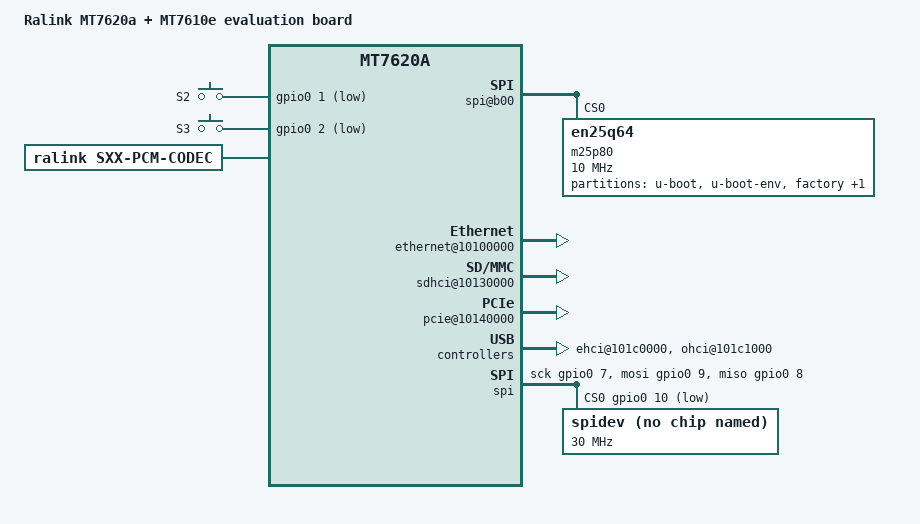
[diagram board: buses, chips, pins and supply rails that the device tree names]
/dts-v1/;

/include/ "mt7620a.dtsi"

/ {
	compatible = "ralink,mt7620a-eval-board", "ralink,mt7620a-soc";
	model = "Ralink MT7620a + MT7610e evaluation board";

	palmbus@10000000 {
		spi@b00 {
			status = "okay";

			m25p80@0 {
				#address-cells = <1>;
				#size-cells = <1>;
				compatible = "en25q64";
				reg = <0 0>;
				linux,modalias = "m25p80", "en25q64";
				spi-max-frequency = <10000000>;

				partition@0 {
					label = "u-boot";
					reg = <0x0 0x30000>;
					read-only;
				};

				partition@30000 {
					label = "u-boot-env";
					reg = <0x30000 0x10000>;
					read-only;
				};

				factory: partition@40000 {
					label = "factory";
					reg = <0x40000 0x10000>;
					read-only;
				};

				partition@50000 {
					label = "firmware";
					reg = <0x50000 0x7b0000>;
				};
			};
		};

		gdma@2800 {
			status = "okay";
		};
	
		i2s: i2s@a00 {
			/*status = "okay";*/
		};
	
		pcm: pcm@2000 {
			status = "okay";
		};

	};

	pinctrl {
		state_default: pinctrl0 {
			gpio {
				ralink,group = "i2c";
				ralink,function = "gpio";
			};
			pcm_i2s {
				ralink,group = "uartf";
				ralink,function = "pcm gpio";
			};
		};
	};

	ethernet@10100000 {
		status = "okay";
		mtd-mac-address = <&factory 0x4>;

		pinctrl-names = "default";
		/*pinctrl-0 = <&rgmii1_pins &rgmii2_pins &mdio_pins>;*/
		pinctrl-0 = <&ephy_pins>;

		ralink,port-map = "llllw";

		/*
		port@4 {
			status = "okay";
			phy-mode = "rgmii";
			phy-handle = <&phy4>;
		};

		port@5 {
			status = "okay";
			phy-mode = "rgmii";
			phy-handle = <&phy5>;
		};

		mdio-bus {
			status = "okay";

			phy4: ethernet-phy@4 {
				reg = <4>;
				phy-mode = "rgmii";
			};

			phy5: ethernet-phy@5 {
				reg = <5>;
				phy-mode = "rgmii";
			};
		};
		*/
	};

	gsw@10110000 {
		/*ralink,port4 = "gmac";*/
		ralink,port4 = "ephy";
	};

	wmac@10180000 {
		ralink,mtd-eeprom = <&factory 0>;
	};

	sdhci@10130000 {
		status = "okay";
	};

	pcie@10140000 {
		status = "okay";
	};

	gpio-keys-polled {
		compatible = "gpio-keys";
		#address-cells = <1>;
		#size-cells = <0>;
		poll-interval = <20>;
		s2 {
			label = "S2";
			gpios = <&gpio0 1 1>;
			linux,code = <0x100>;
		};
		s3 {
			label = "S3";
			gpios = <&gpio0 2 1>;
			linux,code = <0x101>;
		};
	};

	ehci@101c0000 {
		status = "okay";
	};

	ohci@101c1000 {
		status = "okay";
	};

    codec: sxx-pcm-codec {
		compatible = "ralink,sxx-pcm-codec";
	};
    
    sound: sxx-pcm-machine {
        compatible = "ralink,sxx-pcm-machine";
        model = "sxx-pcm-machine";
        cpu-dai = <&pcm>;
        codec-dai = <&codec>;
    };

	spi {
		compatible = "spi-gpio";
		#address-cells = <0x1>;
		ranges;

		gpio-sck = <&gpio0 7 0>;
		gpio-miso = <&gpio0 8 0>;
		gpio-mosi = <&gpio0 9 0>;
		cs-gpios = <&gpio0 10 1>;
		num-chipselects = <1>;

		spidev {
			compatible = "rohm,dh2228fv";
			spi-max-frequency = <30000000>;
			reg = <0>;
		};
	};

};
